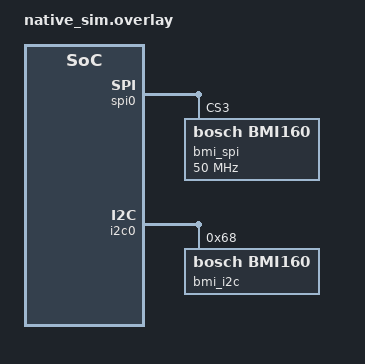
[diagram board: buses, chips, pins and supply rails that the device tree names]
/* Copyright (c) 2020 Nordic Semiconductor ASA
 * SPDX-License-Identifier: Apache-2.0
 */

/ {
	aliases {
		accel-0 = &bmi_spi;
		accel-1 = &bmi_i2c;
	};
};

&spi0 {
	bmi_spi: bmi@3 {
		compatible = "bosch,bmi160";
		spi-max-frequency = <50000000>;
		reg = <3>;
	};
};

&i2c0 {
	bmi_i2c: bmi@68 {
		compatible = "bosch,bmi160";
		reg = <0x68>;
	};
};
